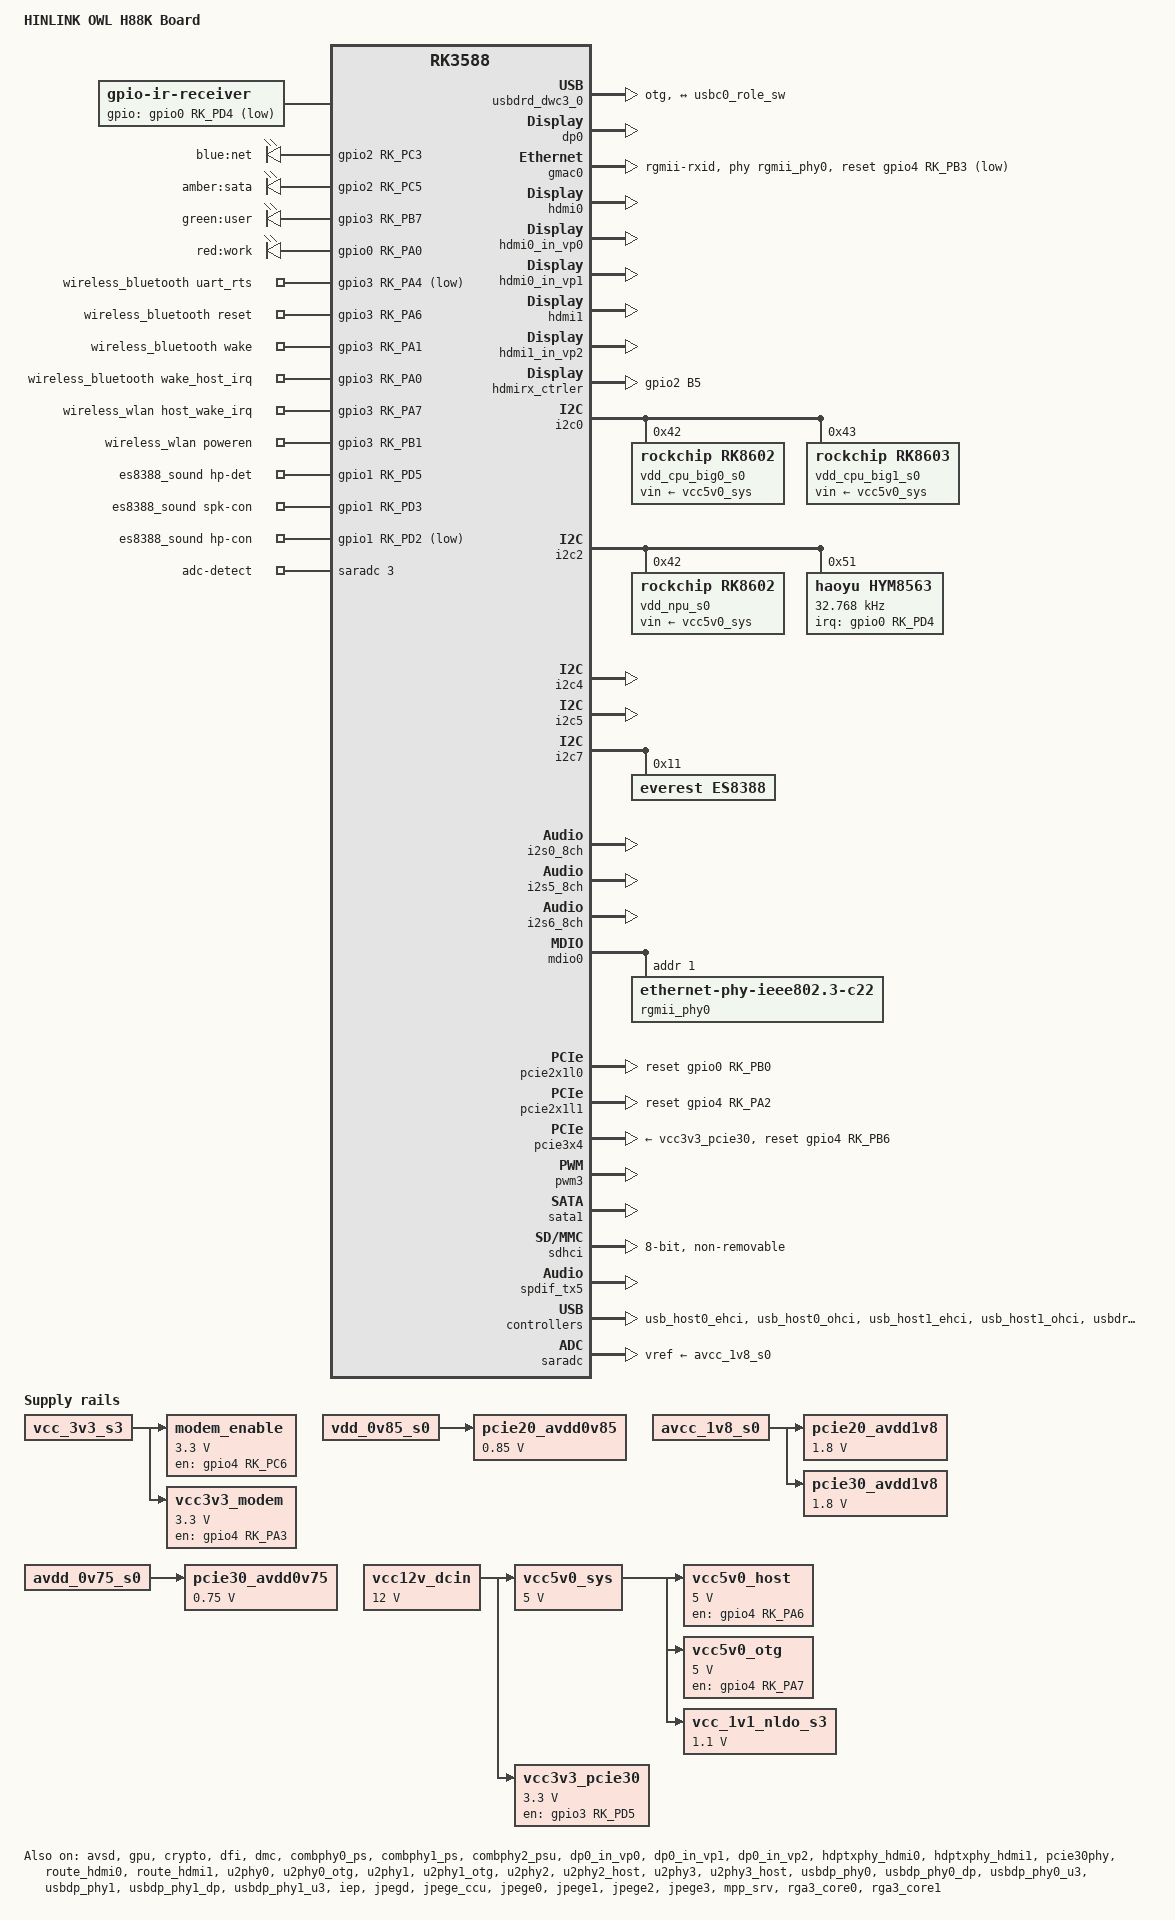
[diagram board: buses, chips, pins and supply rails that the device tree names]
// SPDX-License-Identifier: (GPL-2.0+ OR MIT)
/*
 * Copyright (c) 2021 Rockchip Electronics Co., Ltd.
 *
 */

/dts-v1/;
#include "dt-bindings/usb/pd.h"
#include <dt-bindings/gpio/gpio.h>
#include <dt-bindings/pwm/pwm.h>
#include <dt-bindings/pinctrl/rockchip.h>
#include <dt-bindings/input/rk-input.h>
#include <dt-bindings/display/drm_mipi_dsi.h>
#include <dt-bindings/display/rockchip_vop.h>
#include <dt-bindings/sensor-dev.h>
#include "rk3588.dtsi"
#include "rk3588-rk806-single.dtsi"
#include "rk3588-linux.dtsi"

/ {
	model = "HINLINK OWL H88K Board";
	compatible = "hinlink,owl-h88k", "rockchip,rk3588";

	aliases {
		mmc0 = &sdmmc;
		mmc1 = &sdhci;
		mmc2 = &sdio;
	};

	reserved-memory {
		#address-cells = <2>;
		#size-cells = <2>;
		ranges;

		/* Reserve 256MB memory for hdmirx-controller@fdee0000 */
		cma {
			compatible = "shared-dma-pool";
			reusable;
			reg = <0x0 (256 * 0x100000) 0x0 (256 * 0x100000)>;
			linux,cma-default;
		};

		ramoops: ramoops@110000 {
			compatible = "ramoops";
			reg = <0x0 0x110000 0x0 0xf0000>;
			record-size = <0x20000>;
			console-size = <0x80000>;
			ftrace-size = <0x00000>;
			pmsg-size = <0x50000>;
		};
	};

	chosen {
		stdout-path = "serial2:1500000n8";
	};

	cspmu: cspmu@fd10c000 {
		compatible = "rockchip,cspmu";
		reg = <0x0 0xfd10c000 0x0 0x1000>,
		      <0x0 0xfd10d000 0x0 0x1000>,
		      <0x0 0xfd10e000 0x0 0x1000>,
		      <0x0 0xfd10f000 0x0 0x1000>,
		      <0x0 0xfd12c000 0x0 0x1000>,
		      <0x0 0xfd12d000 0x0 0x1000>,
		      <0x0 0xfd12e000 0x0 0x1000>,
		      <0x0 0xfd12f000 0x0 0x1000>;
	};

	ir-receiver {
		compatible = "gpio-ir-receiver";
		gpios = <&gpio0 RK_PD4 GPIO_ACTIVE_LOW>;
		pinctrl-0 = <&ir_int_pin>;
		pinctrl-names = "default";
	};

	leds {
		compatible = "gpio-leds";
		pinctrl-names = "default";
		pinctrl-0 = <&led_net_en>, <&led_sata_en>,
			    <&led_user_en>, <&led_work_en>;

		net {
			label = "blue:net";
			gpios = <&gpio2 RK_PC3 GPIO_ACTIVE_HIGH>;
		};

		sata {
			label = "amber:sata";
			gpios = <&gpio2 RK_PC5 GPIO_ACTIVE_HIGH>;
		};

		user {
			label = "green:user";
			gpios = <&gpio3 RK_PB7 GPIO_ACTIVE_HIGH>;
		};

		work {
			label = "red:work";
			gpios = <&gpio0 RK_PA0 GPIO_ACTIVE_HIGH>;
			linux,default-trigger = "default-on";
		};
	};

	hdmiin_dc: hdmiin-dc {
		compatible = "rockchip,dummy-codec";
		#sound-dai-cells = <0>;
	};

	hdmiin-sound {
		compatible = "simple-audio-card";
		simple-audio-card,format = "i2s";
		simple-audio-card,name = "rockchip,hdmiin";
		simple-audio-card,bitclock-master = <&dailink0_master>;
		simple-audio-card,frame-master = <&dailink0_master>;
		status = "okay";
		simple-audio-card,cpu {
			sound-dai = <&i2s7_8ch>;
		};
		dailink0_master: simple-audio-card,codec {
			sound-dai = <&hdmiin_dc>;
		};
	};

	vcc12v_dcin: vcc12v-dcin {
		compatible = "regulator-fixed";
		regulator-name = "vcc12v_dcin";
		regulator-always-on;
		regulator-boot-on;
		regulator-min-microvolt = <12000000>;
		regulator-max-microvolt = <12000000>;
	};

	vcc5v0_sys: vcc5v0-sys {
		compatible = "regulator-fixed";
		regulator-name = "vcc5v0_sys";
		regulator-always-on;
		regulator-boot-on;
		regulator-min-microvolt = <5000000>;
		regulator-max-microvolt = <5000000>;
		vin-supply = <&vcc12v_dcin>;
	};

	vcc5v0_host: vcc5v0-host-regulator {
		compatible = "regulator-fixed";
		regulator-name = "vcc5v0_host";
		regulator-boot-on;
		regulator-always-on;
		regulator-min-microvolt = <5000000>;
		regulator-max-microvolt = <5000000>;
		enable-active-high;
		gpio = <&gpio4 RK_PA6 GPIO_ACTIVE_HIGH>;
		vin-supply = <&vcc5v0_sys>;
		pinctrl-names = "default";
		pinctrl-0 = <&vcc5v0_host_en>;
	};

	vcc5v0_otg: vcc5v0-otg-regulator {
		compatible = "regulator-fixed";
		regulator-name = "vcc5v0_otg";
		regulator-min-microvolt = <5000000>;
		regulator-max-microvolt = <5000000>;
		enable-active-high;
		gpio = <&gpio4 RK_PA7 GPIO_ACTIVE_HIGH>;
		vin-supply = <&vcc5v0_sys>;
		pinctrl-names = "default";
		pinctrl-0 = <&vcc5v0_otg_en>;
	};

	modem_enable: modem-enable {
		compatible = "regulator-fixed";
		enable-active-high;
		regulator-always-on;
		regulator-boot-on;
		gpios = <&gpio4 RK_PC6 GPIO_ACTIVE_HIGH>;
		regulator-min-microvolt = <3300000>;
		regulator-max-microvolt = <3300000>;
		regulator-name = "modem-enable";
		vin-supply = <&vcc_3v3_s3>;
		startup-delay-us = <500000>;
		pinctrl-names = "default";
		pintctrl-0 = <&modem_reset_en>;
	};

	vcc3v3_modem: vcc3v3-modem {
		compatible = "regulator-fixed";
		enable-active-high;
		regulator-always-on;
		regulator-boot-on;
		gpios = <&gpio4 RK_PA3 GPIO_ACTIVE_HIGH>;
		regulator-min-microvolt = <3300000>;
		regulator-max-microvolt = <3300000>;
		regulator-name = "vcc3v3_modem";
		pinctrl-names = "default";
		pintctrl-0 = <&modem_power_en>;
		vin-supply = <&vcc_3v3_s3>;
	};

	pcie20_avdd0v85: pcie20-avdd0v85 {
		compatible = "regulator-fixed";
		regulator-name = "pcie20_avdd0v85";
		regulator-boot-on;
		regulator-always-on;
		regulator-min-microvolt = <850000>;
		regulator-max-microvolt = <850000>;
		vin-supply = <&vdd_0v85_s0>;
	};

	pcie20_avdd1v8: pcie20-avdd1v8 {
		compatible = "regulator-fixed";
		regulator-name = "pcie20_avdd1v8";
		regulator-boot-on;
		regulator-always-on;
		regulator-min-microvolt = <1800000>;
		regulator-max-microvolt = <1800000>;
		vin-supply = <&avcc_1v8_s0>;
	};

	pcie30_avdd0v75: pcie30-avdd0v75 {
		compatible = "regulator-fixed";
		regulator-name = "pcie30_avdd0v75";
		regulator-boot-on;
		regulator-always-on;
		regulator-min-microvolt = <750000>;
		regulator-max-microvolt = <750000>;
		vin-supply = <&avdd_0v75_s0>;
	};

	pcie30_avdd1v8: pcie30-avdd1v8 {
		compatible = "regulator-fixed";
		regulator-name = "pcie30_avdd1v8";
		regulator-boot-on;
		regulator-always-on;
		regulator-min-microvolt = <1800000>;
		regulator-max-microvolt = <1800000>;
		vin-supply = <&avcc_1v8_s0>;
	};

	vcc3v3_pcie30: vcc3v3-pcie30 {
		compatible = "regulator-fixed";
		regulator-name = "vcc3v3_pcie30";
		regulator-min-microvolt = <3300000>;
		regulator-max-microvolt = <3300000>;
		enable-active-high;
		gpios = <&gpio3 RK_PD5 GPIO_ACTIVE_HIGH>;
		startup-delay-us = <5000>;
		vin-supply = <&vcc12v_dcin>;
	};

	vcc_1v1_nldo_s3: vcc-1v1-nldo-s3 {
		compatible = "regulator-fixed";
		regulator-name = "vcc_1v1_nldo_s3";
		regulator-always-on;
		regulator-boot-on;
		regulator-min-microvolt = <1100000>;
		regulator-max-microvolt = <1100000>;
		vin-supply = <&vcc5v0_sys>;
	};

	dp0_sound: dp0-sound {
		status = "disabled";
		compatible = "rockchip,hdmi";
		rockchip,card-name= "rockchip,dp0";
		rockchip,mclk-fs = <512>;
		rockchip,cpu = <&spdif_tx2>;
		rockchip,codec = <&dp0 1>;
		rockchip,jack-det;
	};

	hdmi0_sound: hdmi0-sound {
		status = "okay";
		compatible = "rockchip,hdmi";
		rockchip,mclk-fs = <128>;
		rockchip,card-name = "rockchip-hdmi0";
		rockchip,cpu = <&i2s5_8ch>;
		rockchip,codec = <&hdmi0>;
		rockchip,jack-det;
	};

	hdmi1_sound: hdmi1-sound {
		status = "okay";
		compatible = "rockchip,hdmi";
		rockchip,mclk-fs = <128>;
		rockchip,card-name = "rockchip-hdmi1";
		rockchip,cpu = <&i2s6_8ch>;
		rockchip,codec = <&hdmi1>;
		rockchip,jack-det;
	};
	
	hdmiin-sound {
		compatible = "rockchip,hdmi";
		rockchip,mclk-fs = <128>;
		rockchip,format = "i2s";
		rockchip,bitclock-master = <&hdmirx_ctrler>;
		rockchip,frame-master = <&hdmirx_ctrler>;
		rockchip,card-name = "rockchip,hdmiin";
		rockchip,cpu = <&i2s7_8ch>;
		rockchip,codec = <&hdmirx_ctrler 0>;
		rockchip,jack-det;
	};

	wireless_bluetooth: wireless-bluetooth {
		compatible = "bluetooth-platdata";
		clocks = <&hym8563>;
		clock-names = "ext_clock";
		uart_rts_gpios = <&gpio3 RK_PA4 GPIO_ACTIVE_LOW>;	//GPIO3_A4_d UART8_RTSn_M1_BT
		pinctrl-names = "default", "rts_gpio";
		pinctrl-0 = <&uart8m1_rtsn>, <&bt_reset_gpio>, <&bt_wake_gpio>, <&bt_irq_gpio>;
		pinctrl-1 = <&uart8_gpios>;
		BT,reset_gpio    = <&gpio3 RK_PA6 GPIO_ACTIVE_HIGH>;	//GPIO3_A6_d BT_REG_ON_H
		BT,wake_gpio     = <&gpio3 RK_PA1 GPIO_ACTIVE_HIGH>;	//GPIO3_A1_u HOST_WAKE_BT_H
		BT,wake_host_irq = <&gpio3 RK_PA0 GPIO_ACTIVE_HIGH>;	//GPIO3_A0_u BT_WAKE_HOST_H
		status = "okay";
	};

	wireless_wlan: wireless-wlan {
		compatible = "wlan-platdata";
		wifi_chip_type = "ap6255";
		pinctrl-names = "default";
		pinctrl-0 = <&wifi_host_wake_irq>, <&wifi_poweren_gpio>;
		WIFI,host_wake_irq = <&gpio3 RK_PA7 GPIO_ACTIVE_HIGH>;		//GPIO3_A7_u WIFI_WAKE_HOST_H
		WIFI,poweren_gpio = <&gpio3 RK_PB1 GPIO_ACTIVE_HIGH>;		//GPIO3_B1_d WIFI_REG_ON_H
		status = "okay";
	};

	es8388_sound: es8388-sound {
		status = "okay";
		compatible = "rockchip,multicodecs-card";
		rockchip,card-name = "rockchip-es8388";
		hp-det-gpio = <&gpio1 RK_PD5 GPIO_ACTIVE_HIGH>;	// GPIO1_D5_d HP_DET_L
		io-channels = <&saradc 3>;
		io-channel-names = "adc-detect";
		keyup-threshold-microvolt = <1800000>;
		poll-interval = <100>;
		spk-con-gpio = <&gpio1 RK_PD3 GPIO_ACTIVE_HIGH>;	// GPIO1_D3_d SPK_CTL_H
		hp-con-gpio = <&gpio1 RK_PD2 GPIO_ACTIVE_LOW>;		//GPIO1_D2_d PHONE_CTL
		rockchip,format = "i2s";
		rockchip,mclk-fs = <256>;
		rockchip,cpu = <&i2s0_8ch>;
		rockchip,codec = <&es8388>;
		rockchip,audio-routing =
			"Headphone", "LOUT1",
			"Headphone", "ROUT1",
			"Speaker", "LOUT2",
			"Speaker", "ROUT2",
			"Headphone", "Headphone Power",
			"Headphone", "Headphone Power",
			"Speaker", "Speaker Power",
			"Speaker", "Speaker Power",
			"LINPUT1", "Main Mic",
			"LINPUT2", "Main Mic",
			"RINPUT1", "Headset Mic",
			"RINPUT2", "Headset Mic";
		pinctrl-names = "default";
		pinctrl-0 = <&hp_det>;
		play-pause-key {
			label = "playpause";
			linux,code = <KEY_PLAYPAUSE>;
			press-threshold-microvolt = <2000>;
		};
	};
};

&avsd {
	status = "okay";
};

&cpu_l0 {
	cpu-supply = <&vdd_cpu_lit_s0>;
	mem-supply = <&vdd_cpu_lit_mem_s0>;
};

&cpu_b0 {
	cpu-supply = <&vdd_cpu_big0_s0>;
	mem-supply = <&vdd_cpu_big0_mem_s0>;
};

&cpu_b2 {
	cpu-supply = <&vdd_cpu_big1_s0>;
	mem-supply = <&vdd_cpu_big1_mem_s0>;
};

&display_subsystem {
	clocks = <&hdptxphy_hdmi_clk0>, <&hdptxphy_hdmi_clk1>;
	clock-names = "hdmi0_phy_pll", "hdmi1_phy_pll";
};

&hdptxphy_hdmi_clk0 {
	status = "okay";
};

&hdptxphy_hdmi_clk1 {
	status = "okay";
};

&gpu {
	mali-supply = <&vdd_gpu_s0>;
	mem-supply = <&vdd_gpu_mem_s0>;
	status = "okay";
};

&crypto {
	status = "okay";
};

&dfi {
	status = "okay";
};

&dmc {
	center-supply = <&vdd_ddr_s0>;
	mem-supply = <&vdd_log_s0>;
	status = "okay";
};

&usbdrd_dwc3_0 {
	dr_mode = "otg";
	extcon = <&u2phy0>;
	status = "okay";
};

&combphy0_ps {
	status = "okay";
};

&combphy1_ps {
	status = "okay";
};

&combphy2_psu {
	status = "okay";
};

&dp0 {
	status = "okay";
};

&dp0_in_vp0 {
	status = "okay";
};

&dp0_in_vp1 {
	status = "okay";
};

&dp0_in_vp2 {
	status = "okay";
};

&gmac0 {
	/* Use rgmii-rxid mode to disable rx delay inside Soc */
	phy-mode = "rgmii-rxid";
	clock_in_out = "output";

	snps,reset-gpio = <&gpio4 RK_PB3 GPIO_ACTIVE_LOW>;
	snps,reset-active-low;
	/* Reset time is 20ms, 100ms for rtl8211f */
	snps,reset-delays-us = <0 20000 100000>;

	pinctrl-names = "default";
	pinctrl-0 = <&gmac0_miim
		     &gmac0_tx_bus2
		     &gmac0_rx_bus2
		     &gmac0_rgmii_clk
		     &gmac0_rgmii_bus>;

	tx_delay = <0x44>;
	/* rx_delay = <0x4f>; */

	phy-handle = <&rgmii_phy0>;
	status = "okay";
};

&hdmi0 {
	enable-gpios = <&gpio4 RK_PB1 GPIO_ACTIVE_HIGH>;
	status = "okay";
};

&hdmi0_in_vp0 {
	status = "okay";
};

&hdmi0_in_vp1 {
	status = "okay";
};

&hdmi0_in_vp2 {
	status = "disabled";
};

&hdmi0_sound {
	status = "okay";
};

&hdmi1 {
	enable-gpios = <&gpio4 RK_PB2 GPIO_ACTIVE_HIGH>;
	status = "okay";
};

&hdmi1_in_vp0 {
	status = "disabled";
};

&hdmi1_in_vp1 {
	status = "disabled";
};

&hdmi1_in_vp2 {
	status = "okay";
};

&hdmi1_sound {
	status = "okay";
};

&hdptxphy_hdmi0 {
	status = "okay";
};

&hdptxphy_hdmi1 {
	status = "okay";
};

/* Should work with at least 128MB cma reserved above. */
&hdmirx_ctrler {
	status = "okay";

	#sound-dai-cells = <1>;
	/* Effective level used to trigger HPD: 0-low, 1-high */
	hpd-trigger-level = <1>;
	hdmirx-det-gpios = <&gpio2 RK_PB5 GPIO_ACTIVE_LOW>;
	pinctrl-names = "default";
	pinctrl-0 = <&hdmim1_rx_cec &hdmim1_rx_hpdin &hdmim1_rx_scl &hdmim1_rx_sda &hdmirx_det>;
};

&i2c0 {
	status = "okay";
	pinctrl-names = "default";
	pinctrl-0 = <&i2c0m2_xfer>;

	vdd_cpu_big0_s0: vdd_cpu_big0_mem_s0: rk8602@42 {
		compatible = "rockchip,rk8602";
		reg = <0x42>;
		vin-supply = <&vcc5v0_sys>;
		regulator-compatible = "rk860x-reg";
		regulator-name = "vdd_cpu_big0_s0";
		regulator-min-microvolt = <550000>;
		regulator-max-microvolt = <1050000>;
		regulator-ramp-delay = <2300>;
		rockchip,suspend-voltage-selector = <1>;
		regulator-boot-on;
		regulator-always-on;
		regulator-state-mem {
			regulator-off-in-suspend;
		};
	};

	vdd_cpu_big1_s0: vdd_cpu_big1_mem_s0: rk8603@43 {
		compatible = "rockchip,rk8603";
		reg = <0x43>;
		vin-supply = <&vcc5v0_sys>;
		regulator-compatible = "rk860x-reg";
		regulator-name = "vdd_cpu_big1_s0";
		regulator-min-microvolt = <550000>;
		regulator-max-microvolt = <1050000>;
		regulator-ramp-delay = <2300>;
		rockchip,suspend-voltage-selector = <1>;
		regulator-boot-on;
		regulator-always-on;
		regulator-state-mem {
			regulator-off-in-suspend;
		};
	};
};

&i2c2 {
	status = "okay";

	vdd_npu_s0: vdd_npu_mem_s0: rk8602@42 {
		compatible = "rockchip,rk8602";
		reg = <0x42>;
		vin-supply = <&vcc5v0_sys>;
		regulator-compatible = "rk860x-reg";
		regulator-name = "vdd_npu_s0";
		regulator-min-microvolt = <550000>;
		regulator-max-microvolt = <950000>;
		regulator-ramp-delay = <2300>;
		rockchip,suspend-voltage-selector = <1>;
		regulator-boot-on;
		regulator-always-on;
		regulator-state-mem {
			regulator-off-in-suspend;
		};
	};


	hym8563: hym8563@51 {
		compatible = "haoyu,hym8563";
		reg = <0x51>;
		#clock-cells = <0>;
		clock-frequency = <32768>;
		clock-output-names = "hym8563";
		pinctrl-names = "default";
		pinctrl-0 = <&hym8563_int>;
		interrupt-parent = <&gpio0>;
		interrupts = <RK_PD4 IRQ_TYPE_LEVEL_LOW>;	//GPIO0_D4_u RTC_INT_L
		wakeup-source;
	};
};

&i2c4 {
	status = "okay";
	pinctrl-names = "default";
	pinctrl-0 = <&i2c4m3_xfer>;
};

&i2c5 {
	status = "okay";
};

&i2c7 {
	status = "okay";
	es8388: es8388@11 {
		status = "okay";
		#sound-dai-cells = <0>;
		compatible = "everest,es8388", "everest,es8323";
		reg = <0x11>;
		clocks = <&cru I2S0_8CH_MCLKOUT>;
		clock-names = "mclk";
		assigned-clocks = <&cru I2S0_8CH_MCLKOUT>;
		assigned-clock-rates = <12288000>;
		pinctrl-names = "default";
		pinctrl-0 = <&i2s0_mclk>;
	};
};

&i2s0_8ch {
	status = "okay";
	pinctrl-0 = <&i2s0_lrck
		     &i2s0_sclk
		     &i2s0_sdi0
		     &i2s0_sdo0>;
};

&i2s5_8ch {
	status = "okay";
};

&i2s6_8ch {
	status = "okay";
};

&mdio0 {
	rgmii_phy0: phy@1 {
		compatible = "ethernet-phy-ieee802.3-c22";
		reg = <0x1>;
	};
};

&pcie2x1l0 {
	reset-gpios = <&gpio0 RK_PB0 GPIO_ACTIVE_HIGH>;
	status = "okay";
};

&pcie2x1l1 {
	reset-gpios = <&gpio4 RK_PA2 GPIO_ACTIVE_HIGH>;
	status = "okay";
};

&pcie3x4 {
	reset-gpios = <&gpio4 RK_PB6 GPIO_ACTIVE_HIGH>;
	vpcie3v3-supply = <&vcc3v3_pcie30>;
	status = "okay";
};

&pcie30phy {
	rockchip,pcie30-phymode = <PHY_MODE_PCIE_AGGREGATION>;
	status = "okay";
};

&pwm3 {
	compatible = "rockchip,remotectl-pwm";
	pinctrl-names = "default";
	pinctrl-0 = <&pwm3m0_pins>;
	remote_pwm_id = <3>;
	handle_cpu_id = <1>;
	remote_support_psci = <0>;
	status = "okay";

	ir_key1 {
		rockchip,usercode = <0xff00>;
		rockchip,key_table =
			<0xe7	KEY_POWER>,	
			<0xa4	KEY_MUTE>,	
			<0xb9	KEY_UP>,	
			<0xe9	KEY_DOWN>,	
			<0xb8	KEY_LEFT>,
			<0xea	KEY_RIGHT>,
			<0xaa	KEY_ENTER>,
			<0xbf	KEY_BACK>,
			<0xfb	KEY_MENU>,
			<0xef	KEY_VOLUMEDOWN>,
			<0xeb	KEY_VOLUMEUP>,	
			<0xaf	KEY_PAGEUP>,	
			<0xad	KEY_PAGEDOWN>,				
			<0xb1	KEY_HOME>,	
			<0xb0	KEY_F1>,	
			<0xe3	KEY_F2>;		
	};

};

&rk806single {
	pinctrl-names = "default", "pmic-power-off";
	pinctrl-0 = <&pmic_pins>, <&rk806_dvs1_null>, <&rk806_dvs2_null>, <&rk806_dvs3_null>;
	pinctrl-1 = <&rk806_dvs1_slp>, <&rk806_dvs2_null>, <&rk806_dvs3_null>;

	regulators {
		avcc_1v8_s0: PLDO_REG1 {
			regulator-always-on;
			regulator-boot-on;
			regulator-min-microvolt = <1800000>;
			regulator-max-microvolt = <1800000>;
			regulator-name = "avcc_1v8_s0";
			regulator-state-mem {
				regulator-on-in-suspend;
				regulator-suspend-microvolt = <1800000>;
			};
		};
	};
};

&rockchip_suspend {
	status = "okay";
	rockchip,sleep-debug-en = <1>;
	rockchip,virtual-poweroff = <1>;
	rockchip,sleep-mode-config = <
		(0
		| RKPM_SLP_ARMOFF_DDRPD
		)
	>;
	rockchip,wakeup-config = <
		(0
		| RKPM_CPU0_WKUP_EN
		| RKPM_GPIO_WKUP_EN
		)
	>;
};

&route_dp0 {
	status = "disabled";
	force-output;
	connect = <&vp2_out_dp0>;

};

&route_hdmi0 {
	status = "okay";
	force-output;
	connect = <&vp0_out_hdmi0>;
};

&route_hdmi1 {
	status = "okay";
	force-output;
	connect = <&vp2_out_hdmi1>;
};

&sata1 {
	status = "okay";
};

&sdhci {
	bus-width = <8>;
	no-sdio;
	no-sd;
	non-removable;
	max-frequency = <200000000>;
	mmc-hs400-1_8v;
	mmc-hs400-enhanced-strobe;
	status = "okay";
};

&spdif_tx5 {
	status = "okay";
};


&u2phy0 {
	status = "okay";
};

&u2phy0_otg {
	vbus-supply = <&vcc5v0_usb_otg>;
	status = "okay";
};

&u2phy1 {
	status = "okay";
};

&u2phy1_otg {
	phy-supply = <&vcc5v0_usb_host>;
	status = "okay";
};

&u2phy2 {
	status = "okay";
};

&u2phy2_host {
	status = "okay";
};

&u2phy3 {
	status = "okay";
};

&u2phy3_host {
	status = "okay";
};

&usb_host0_ehci {
	status = "okay";
};

&usb_host0_ohci {
	status = "okay";
};

&usb_host1_ehci {
	status = "okay";
};

&usb_host1_ohci {
	status = "okay";
};

&usbdp_phy0 {
	orientation-switch;
	rockchip,dp-lane-mux = < 0 1 2 3 >;
	sbu1-dc-gpios = <&gpio0 RK_PC6 GPIO_ACTIVE_HIGH>;
	sbu2-dc-gpios = <&gpio0 RK_PD3 GPIO_ACTIVE_HIGH>;
	svid = <0xff01>;
	status = "okay";

	port {
		#address-cells = <1>;
		#size-cells = <0>;
		usbdp_phy0_orientation_switch: endpoint@0 {
			reg = <0>;
			remote-endpoint = <&usbc0_orien_sw>;
		};

		usbdp_phy0_dp_altmode_mux: endpoint@1 {
			reg = <1>;
			remote-endpoint = <&dp_altmode_mux>;
		};
	};
};

&usbdp_phy0_dp {
	status = "okay";
};

&usbdp_phy0_u3 {
	status = "okay";
};

&usbdp_phy1 {
	status = "okay";
};

&usbdp_phy1_dp {
	status = "okay";
};

&usbdp_phy1_u3 {
	status = "okay";
};

&usbdrd3_0 {
	status = "okay";
};

&usbdrd_dwc3_0 {
	usb-role-switch;
	status = "okay";

	port {
		#address-cells = <1>;
		#size-cells = <0>;
		dwc3_0_role_switch: endpoint@0 {
			reg = <0>;
			remote-endpoint = <&usbc0_role_sw>;
		};
	};
};

&usbdrd3_1 {
	status = "okay";
};

&usbdrd_dwc3_1 {
	status = "okay";
};

&vdd_log_s0 {
	regulator-state-mem {
		regulator-on-in-suspend;
		regulator-suspend-microvolt = <750000>;
	};
};

&pcie2x1l1 {
	reset-gpios = <&gpio4 RK_PA2 GPIO_ACTIVE_HIGH>;
	status = "okay";
};

&sata2 {
	status = "disabled";
}; 

&combphy2_psu {
	status = "okay";
};

&vdd_vdenc_s0 {
	regulator-init-microvolt = <750000>;
};

&av1d_mmu {
	status = "okay";
};

&iep {
	status = "okay";
};

&iep_mmu {
	status = "okay";
};

&jpegd {
	status = "okay";
};

&jpegd_mmu {
	status = "okay";
};

&jpege_ccu {
	status = "okay";
};

&jpege0 {
	status = "okay";
};

&jpege0_mmu {
	status = "okay";
};

&jpege1 {
	status = "okay";
};

&jpege1_mmu {
	status = "okay";
};

&jpege2 {
	status = "okay";
};

&jpege2_mmu {
	status = "okay";
};

&jpege3 {
	status = "okay";
};

&jpege3_mmu {
	status = "okay";
};

&mpp_srv {
	status = "okay";
};

&rga3_core0 {
	status = "okay";
};

&rga3_0_mmu {
	status = "okay";
};

&rga3_core1 {
	status = "okay";
};

&rga3_1_mmu {
	status = "okay";
};

&rga2 {
	status = "okay";
};

&rknpu {
	rknpu-supply = <&vdd_npu_s0>;
	mem-supply = <&vdd_npu_mem_s0>;
	status = "okay";
};

&rknpu_mmu {
	status = "okay";
};

&rkvdec_ccu {
	status = "okay";
};

&rkvdec0 {
	status = "okay";
};

&rkvdec0_mmu {
	status = "okay";
};

&rkvdec1 {
	status = "okay";
};

&rkvdec1_mmu {
	status = "okay";
};

&rkvenc_ccu {
	status = "okay";
};

&rkvenc0 {
	status = "okay";
};

&rkvenc0_mmu {
	status = "okay";
};

&rkvenc1 {
	status = "okay";
};

&rkvenc1_mmu {
	status = "okay";
};

&saradc {
	status = "okay";
	vref-supply = <&avcc_1v8_s0>;
};

&tsadc {
	status = "okay";
};

&vdpu {
	status = "okay";
};

&vdpu_mmu {
	status = "okay";
};

&vepu {
	status = "okay";
};

&vop {
	assigned-clocks = <&cru ACLK_VOP>;
	assigned-clock-rates = <800000000>;
	status = "okay";
};

&vop_mmu {
	status = "okay";
};

/* vp0 & vp1 splice for 8K output */
&vp0 {
		rockchip,plane-mask = <(1 << ROCKCHIP_VOP2_CLUSTER0 | 1 << ROCKCHIP_VOP2_ESMART0)>;
		rockchip,primary-plane = <ROCKCHIP_VOP2_ESMART0>;
		cursor-win-id = <ROCKCHIP_VOP2_CLUSTER0>;
};

&vp1 {
		rockchip,plane-mask = <(1 << ROCKCHIP_VOP2_CLUSTER1 | 1 << ROCKCHIP_VOP2_ESMART1)>;
		rockchip,primary-plane = <ROCKCHIP_VOP2_ESMART1>;
		cursor-win-id = <ROCKCHIP_VOP2_CLUSTER1>;
};

&vp2 {
		rockchip,plane-mask = <(1 << ROCKCHIP_VOP2_CLUSTER2 | 1 << ROCKCHIP_VOP2_ESMART2)>;
		rockchip,primary-plane = <ROCKCHIP_VOP2_ESMART2>;
		cursor-win-id = <ROCKCHIP_VOP2_CLUSTER2>;
};

&vp3 {
		rockchip,plane-mask = <(1 << ROCKCHIP_VOP2_CLUSTER3 | 1 << ROCKCHIP_VOP2_ESMART3)>;
		rockchip,primary-plane = <ROCKCHIP_VOP2_ESMART3>;
		cursor-win-id = <ROCKCHIP_VOP2_CLUSTER3>;
};

&pinctrl {
	leds {
		led_net_en: led_net_en {
			rockchip,pins = <2 RK_PC3 RK_FUNC_GPIO &pcfg_pull_none>;
		};

		led_sata_en: led_sata_en {
			rockchip,pins = <2 RK_PC5 RK_FUNC_GPIO &pcfg_pull_none>;
		};

		led_user_en: led_user_en {
			rockchip,pins = <3 RK_PB7 RK_FUNC_GPIO &pcfg_pull_none>;
		};

		led_work_en: led_work_en {
			rockchip,pins = <0 RK_PA0 RK_FUNC_GPIO &pcfg_pull_none>;
		};
	};

	hdmirx {
		hdmirx_det: hdmirx-det {
			rockchip,pins = <2 RK_PB5 RK_FUNC_GPIO &pcfg_pull_up>;
		};
	};

	headphone {
		hp_det: hp-det {
			rockchip,pins = <1 RK_PD5 RK_FUNC_GPIO &pcfg_pull_none>;	// GPIO1_D5_d HP_DET_L
		};
	};
	
	hym8563 {
		hym8563_int: hym8563-int {
			rockchip,pins = <0 RK_PD4 RK_FUNC_GPIO &pcfg_pull_up>;	//GPIO0_D4_u RTC_INT_L
		};
	};


	usb {
		vcc5v0_usb_host_en: vcc5v0_usb_host_en {
			rockchip,pins = <4 RK_PB0 RK_FUNC_GPIO &pcfg_pull_none>;
		};

		vcc5v0_usb_hub_en: vcc5v0_usb_hub_en {
			rockchip,pins = <4 RK_PA6 RK_FUNC_GPIO &pcfg_pull_none>;
		};

		vcc5v0_usb_otg_en: vcc5v0_usb_otg_en {
			rockchip,pins = <4 RK_PA7 RK_FUNC_GPIO &pcfg_pull_none>;
		};
	};

	usb-typec {
		usbc0_int: usbc0-int {
			rockchip,pins = <1 RK_PA0 RK_FUNC_GPIO &pcfg_pull_up>;
		};
	};

	sata {
		sata0_pm_reset: sata0-pm-reset {
			rockchip,pins = <4 RK_PA0 RK_FUNC_GPIO &pcfg_output_high>;
		};
	};
	
	wireless-bluetooth {
		uart8_gpios: uart8-gpios {
			rockchip,pins = <3 RK_PA4 RK_FUNC_GPIO &pcfg_pull_none>;	//GPIO3_A4_d UART8_RTSn_M1_BT
		};

		bt_reset_gpio: bt-reset-gpio {
			rockchip,pins = <3 RK_PA6 RK_FUNC_GPIO &pcfg_pull_none>;	//GPIO3_A6_d BT_REG_ON_H
		};

		bt_wake_gpio: bt-wake-gpio {
			rockchip,pins = <3 RK_PA1 RK_FUNC_GPIO &pcfg_pull_none>;	//GPIO3_A1_u HOST_WAKE_BT_H
		};

		bt_irq_gpio: bt-irq-gpio {
			rockchip,pins = <3 RK_PA0 RK_FUNC_GPIO &pcfg_pull_down>;	//GPIO3_A0_u BT_WAKE_HOST_H
		};
	};

	rtc {
		rtc_int: rtc-int {
			rockchip,pins = <0 RK_PB2 RK_FUNC_GPIO &pcfg_pull_up>;
		};
	};
	
	rtc {
		rtc_int: rtc-int {
			rockchip,pins = <0 RK_PB2 RK_FUNC_GPIO &pcfg_pull_up>;
		};
	};

	usb-typec {
		usbc0_int: usbc0-int {
			rockchip,pins = <1 RK_PA0 RK_FUNC_GPIO &pcfg_pull_up>;
		};
	};

	modem {
		modem_power_en: modem-power-en {
			rockchip,pins = <4 RK_PA3 RK_FUNC_GPIO &pcfg_pull_none>;
		};

		modem_reset_en: modem-reset-en {
			rockchip,pins = <4 RK_PC6 RK_FUNC_GPIO &pcfg_pull_none>;
		};
	};

	wireless-wlan {
		wifi_host_wake_irq: wifi-host-wake-irq {
			rockchip,pins = <3 RK_PA7 RK_FUNC_GPIO &pcfg_pull_down>;		//GPIO3_A7_u WIFI_WAKE_HOST_H
		};

		wifi_poweren_gpio: wifi-poweren-gpio {
			rockchip,pins = <3 RK_PB1 RK_FUNC_GPIO &pcfg_pull_up>;	//GPIO3_B1_d WIFI_REG_ON_H
		};
	};
};
